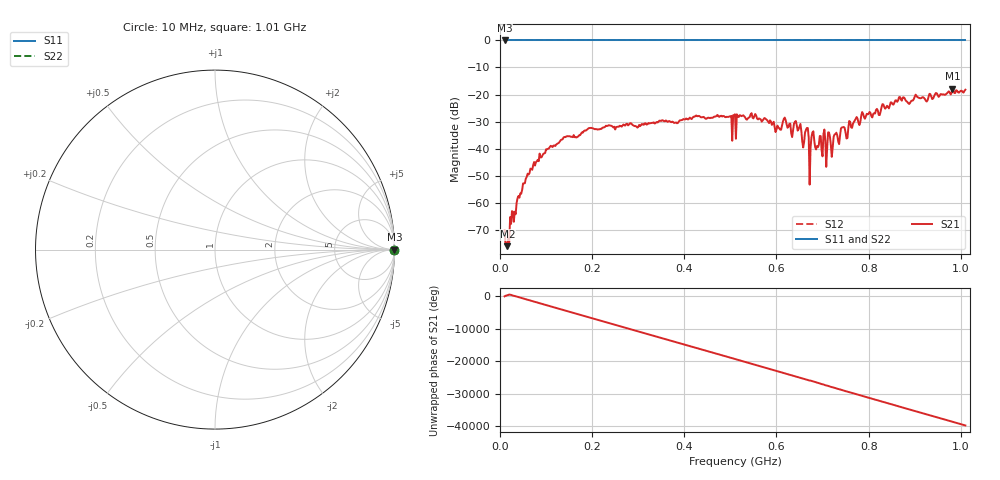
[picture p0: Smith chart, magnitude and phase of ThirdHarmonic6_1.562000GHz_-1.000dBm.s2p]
! 8/16/2025 6:33:47 PM
! C:\ANRITSUVNA\TEMP\TEMP.S2P
! CHANNEL.1
! TR.MEASUREMENT
! RAW.DATA
! RF.CORRECTION.OFF
! AVERAGING.OFF
! IF.BANDWIDTH: 5KHZ
! SWEEPTYPE:  FREQ.SWEEP(Linear)
! Reference Plane Port Info
! PORT:  PORT1  PORT2
! DISTANCE:  0  m  0  m
! TIME:  0  s  0  s
! PHASE.OFFSET:  0  deg.  0  deg.
! LOSS:  0  dB  0  dB
! REF.LOSS:  0  dB  0  dB
! REF.FREQ:  0  Hz  0  Hz
! Power Info
! POWER:  -20  dBm  -20  dBm
! EFF.POWER:  -20  dBm  -20  dBm
! SOURCE.ATTEN:  0  dB  0  dB
! TEST.ATTEN:  0  dB  0  dB
# GHZ S RI R 50.0
! FREQ.GHZ  S11RE  S11IM  S21RE  S21IM  S12RE  S12IM  S22RE  S22IM
!; PortSelection: Port_12
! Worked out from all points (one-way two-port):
!   501 points, 10 MHz to 1.01 GHz, reference 50 ohm
!   highest |S21| = -17.81 dB at 982 MHz (marker M1); lowest = -76.1 dB at 16 MHz (marker M2)
!   lowest |S11| = 0.0 dB at 10 MHz (marker M3)
!   |S11| at or under -10 dB: nowhere
!   |S22| runs from 0.0 to 0.0 dB; largest |S21 - S12| = 1.1
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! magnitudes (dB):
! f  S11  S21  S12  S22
! 10 MHz  0.0  -70.1  0.0  0.0
! 16 MHz  0.0  -76.1  0.0  0.0
! 26 MHz  0.0  -63.2  0.0  0.0
! 70 MHz  0.0  -47.9  0.0  0.0
! 106 MHz  0.0  -39.9  0.0  0.0
! 178 MHz  0.0  -34.0  0.0  0.0
! 344 MHz  0.0  -30.1  0.0  0.0
! 510 MHz  0.0  -27.3  0.0  0.0
! 550 MHz  0.0  -28.8  0.0  0.0
! 602 MHz  0.0  -31.5  0.0  0.0
! 618 MHz  0.0  -28.5  0.0  0.0
! 658 MHz  0.0  -39.6  0.0  0.0
! 666 MHz  0.0  -32.4  0.0  0.0
! 674 MHz  0.0  -39.6  0.0  0.0
! 678 MHz  0.0  -34.0  0.0  0.0
! 688 MHz  0.0  -39.0  0.0  0.0
! 720 MHz  0.0  -43.0  0.0  0.0
! 744 MHz  0.0  -32.1  0.0  0.0
! 752 MHz  0.0  -36.3  0.0  0.0
! 844 MHz  0.0  -25.1  0.0  0.0
! 982 MHz  0.0  -17.8  0.0  0.0
! 1.01 GHz  0.0  -18.2  0.0  0.0
